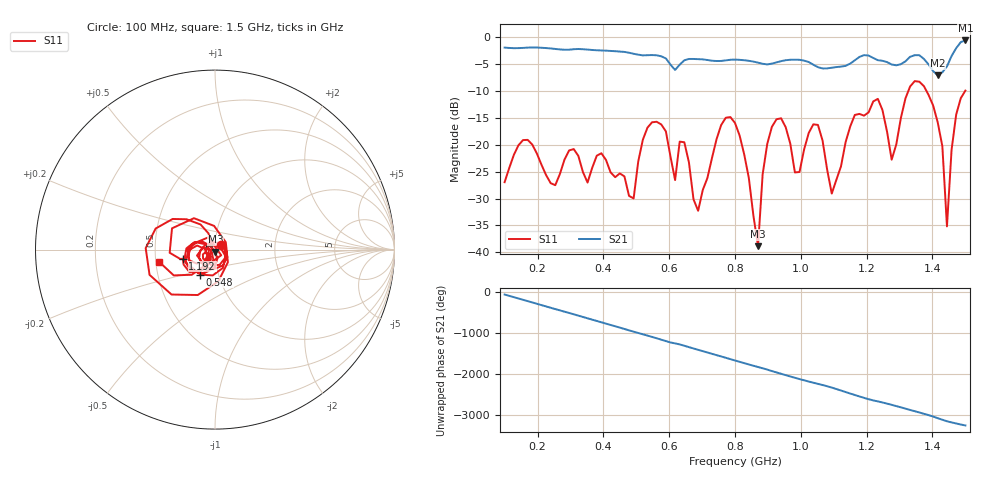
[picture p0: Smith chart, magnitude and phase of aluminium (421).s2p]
! NanoVNA-App
! Date: 2025-09-25 14:58:33
! Start: 100MHz Stop: 1,5GHz Points: 101
! S-Parameter data: F S11 S21 S12 S22
# Hz S RI R 50
!  Frequency  S11_Real  S11_Imag  S21_Real  S21_Imag  S12_Real  S12_Imag  S22_Real  S22_Imag
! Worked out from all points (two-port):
!   101 points, 100 MHz to 1.5 GHz, reference 50 ohm
!   highest |S21| = -0.60 dB at 1.5 GHz (marker M1); lowest = -7.1 dB at 1.416 GHz (marker M2)
!   |S21| within 3 dB of the highest: start of sweep to 577.8 MHz; 1.457 GHz to end of sweep (the widest 2 of 4)
!   lowest |S11| = -38.9 dB at 870 MHz (marker M3), VSWR 1.02, Z = 50.2 - j1.13 ohm
!   |S11| at or under -10 dB: start of sweep to 1.327 GHz; 1.382 GHz to 1.499 GHz (117.4 MHz wide, 8.15 % of centre)
!   S12 and S22 are empty: the file has one direction only
!   S11 on the Smith chart (normalised r, x): 100 MHz: 1.07, +0.06; 548 MHz: 0.82, -0.23; 1.192 GHz: 0.69, -0.07; 1.5 GHz: 0.52, -0.08
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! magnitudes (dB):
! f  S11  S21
! 100 MHz  -27.0  -1.9
! 156 MHz  -19.1  -2.0
! 338 MHz  -25.1  -2.2
! 492 MHz  -30.0  -3.1
! 548 MHz  -15.8  -3.3
! 576 MHz  -16.2  -3.5
! 646 MHz  -19.5  -4.3
! 688 MHz  -32.3  -4.1
! 800 MHz  -15.9  -4.2
! 870 MHz  -38.9  -4.7
! 912 MHz  -16.7  -4.9
! 982 MHz  -25.1  -4.2
! 1.038 GHz  -16.2  -5.1
! 1.094 GHz  -29.1  -5.7
! 1.192 GHz  -14.6  -3.3
! 1.234 GHz  -11.5  -4.3
! 1.276 GHz  -22.8  -5.1
! 1.346 GHz  -8.2  -3.3
! 1.416 GHz  -15.8  -7.1
! 1.444 GHz  -35.2  -5.4
! 1.472 GHz  -14.4  -2.0
! 1.5 GHz  -9.9  -0.6
